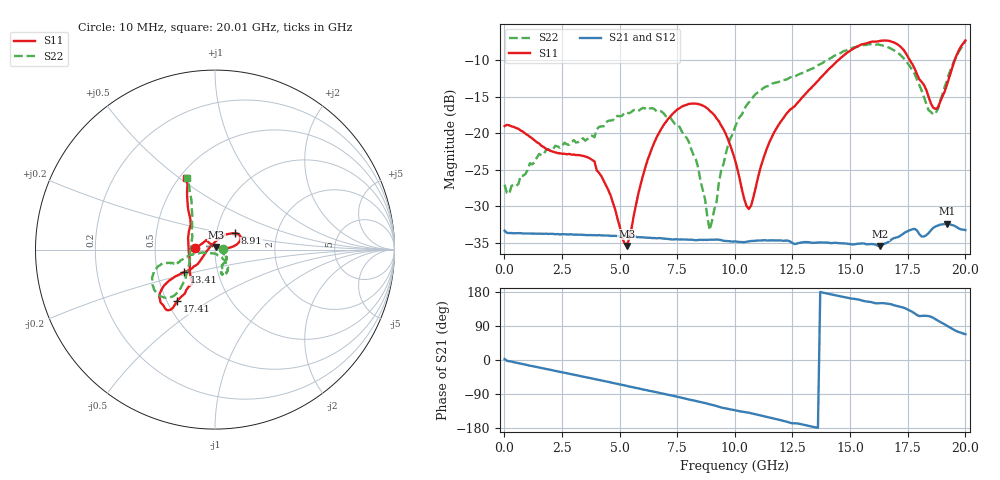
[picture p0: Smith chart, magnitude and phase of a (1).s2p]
! Hittite Microwave Corporation
! 2 Elizabeth Drive
! Chelmsford, MA 01824
! http://www.hittite.com
! Tel: 978-250-3343
! Fax: 978-250-3373
! Device:  HMC424LP3
! Description: 0.5 dB GaAs MMIC 6-Bit Digital Attenuator
! Frequency:  DC -  13.00 GHz
! Package:  LP3  - 3x3 mm Quad Flatpack No-Lead (QFN) Plastic Package: 16 pin
! Ports:  2 RF, 7 DC
!  Pad  1  = Ground
!  Pad  2  = RF IN  =  Port 1
!  Pad  3  = Ground
!  Pad  4  = V6
!  Pad  5  = V5
!  Pad  6  = V4
!  Pad  7  = V3
!  Pad  8  = V2
!  Pad  9  = V1
!  Pad 10  = Ground
!  Pad 11  = RF OUT  = Port 2
!  Pad 12  = Ground
!  Pad 15  = VEE
! Control:  -5 Volt control voltage
! State:  63
! Attenuation:  31.5 dB
! Voltages:  Vdd = -5.00 Volts  Idd =  -2.761 mA
!  V1  = -5.00 Volts  I1  =  -1.0 uA
!  V2  = -5.00 Volts  I2  =  -1.0 uA
!  V3  = -5.00 Volts  I3  =  -1.0 uA
!  V4  = -5.00 Volts  I4  =  -1.0 uA
!  V5  = -5.00 Volts  I5  =  -1.0 uA
!  V6  = -5.00 Volts  I6  =  -1.0 uA
! Data:  The device was measured on evaluation board 105354-1.
!  Data was collected using a calibrated network analyzer.
!  The evaluation circuit board was modeled and simulated.  This was use
!  to removed the evaluation board circuit from the measured data.
!  The reference plane is the edge of the package pin.
! Misc:  Lot xxxx, Unit 1
!  Application 20120001, Data collected in Application 20090083
! Date Measured:  2009-09-15
! Date:  2012-05-14  MJV
! Note:
!  Hittite supplies this data as a sample of measured data at the package pin
!  for this product.  Your particular data for this product may vary.
!  Data was taken at 25 degrees C.
!  Hittite reserves the right to change this data at anytime.
# GHz S MA R 50
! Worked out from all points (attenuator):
!   201 points, 10 MHz to 20.01 GHz, reference 50 ohm
!   highest |S21| = -32.37 dB at 19.21 GHz (marker M1); lowest = -35.4 dB at 16.31 GHz (marker M2)
!   lowest |S11| = -35.4 dB at 5.31 GHz (marker M3), VSWR 1.03, Z = 50.7 + j1.55 ohm
!   |S11| at or under -10 dB: start of sweep to 14.49 GHz; 17.6 GHz to 19.55 GHz (1.952 GHz wide, 10.5 % of centre)
!   |S22| runs from -33.2 to -7.4 dB; largest |S21 - S12| = 0.002
!   S11 on the Smith chart (normalised r, x): 10 MHz: 0.80, +0.02; 8.91 GHz: 1.22, +0.23; 13.41 GHz: 0.69, -0.18; 17.41 GHz: 0.57, -0.37; 20.01 GHz: 0.54, +0.53
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0.01  0.112 174.8  0.02156 2.5  0.02073 -2.5  0.04445 7.2
0.21  0.1132 177.3  0.02079 -3.4  0.02093 -3.4  0.03846 -7.8
1.51  0.08494 161.0  0.02057 -19.8  0.02056 -19.9  0.07224 -29.6
3.41  0.07012 130.3  0.0202 -43.8  0.02019 -43.8  0.09243 -54.2
4.41  0.04428 129.5  0.02001 -56.4  0.0199 -56.7  0.1187 -73.4
5.31  0.01695 64.1  0.01977 -68.2  0.01968 -68.3  0.1385 -73.3
6.01  0.05106 8.9  0.01943 -77.7  0.01939 -77.5  0.149 -71.6
6.71  0.1003 9.5  0.01921 -86.6  0.01914 -86.8  0.1429 -63.3
8.01  0.1588 25.3  0.0187 -104.3  0.01863 -104.0  0.08711 -47.9
8.41  0.1585 31.2  0.01864 -109.5  0.01858 -109.6  0.0585 -48.0
8.91  0.143 39.5  0.01873 -116.9  0.01863 -116.9  0.02181 -101.3
9.41  0.113 50.3  0.0186 -125.3  0.01861 -125.2  0.05556 -159.9
10.01  0.06571 69.2  0.01822 -132.7  0.01819 -132.9  0.1098 -168.9
10.61  0.03035 140.0  0.01825 -139.1  0.01826 -139.3  0.1624 -165.3
11.71  0.1014 -143.2  0.0185 -154.8  0.0185 -154.5  0.2205 -160.1
13.41  0.2114 -143.7  0.01782 -176.6  0.01775 -176.7  0.2783 -164.6
16.31  0.428 -131.2  0.0169 150.0  0.01696 150.0  0.4019 -140.1
16.71  0.4279 -127.8  0.01829 148.0  0.01821 148.0  0.3842 -135.6
17.41  0.3555 -126.2  0.02106 136.2  0.02101 136.2  0.3163 -131.1
18.61  0.1495 -161.0  0.02253 111.5  0.02248 111.2  0.1346 175.3
19.21  0.2146 129.6  0.02408 90.4  0.02404 90.5  0.2294 123.5
20.01  0.4306 112.3  0.02179 68.0  0.02171 67.3  0.4267 111.6
